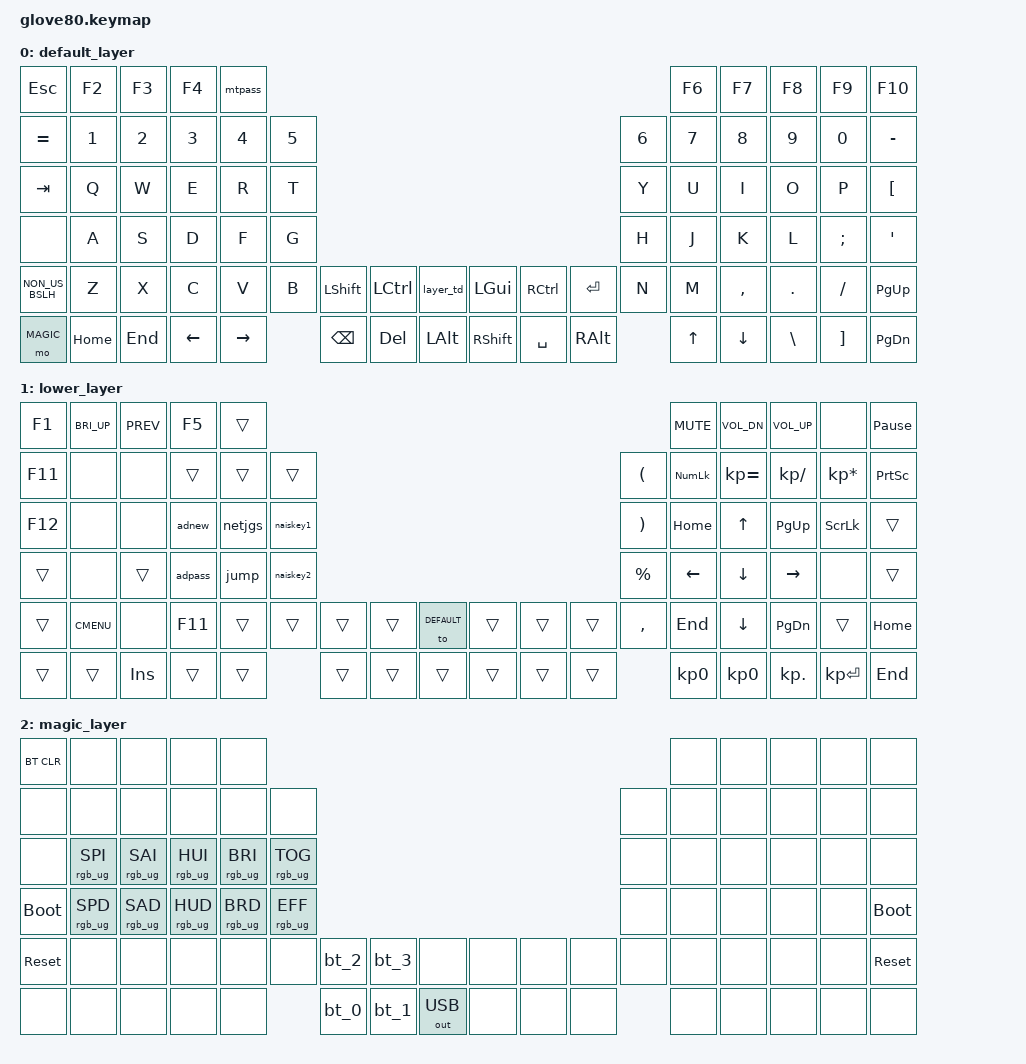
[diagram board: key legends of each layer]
/*
 * Copyright (c) 2020 The ZMK Contributors
 *
 * SPDX-License-Identifier: MIT
 */

#include <behaviors.dtsi>
#include <dt-bindings/zmk/keys.h>
#include <dt-bindings/zmk/bt.h>
#include <dt-bindings/zmk/ext_power.h>
#include <dt-bindings/zmk/outputs.h>
#include <dt-bindings/zmk/rgb.h>

#define HYPER LC(LS(LG(LALT)))

// layers
#define DEFAULT 0
#define LOWER 1
#define MAGIC 2

/ {
    behaviors {
        // For the "layer" key, it'd nice to be able to use it as either a shift or a toggle.
        // Configure it as a tap dance, so the first tap (or hold) is a &mo and the second tap is a &to
        layer_td: tap_dance_0 {
            compatible = "zmk,behavior-tap-dance";
            #binding-cells = <0>;
            tapping-term-ms = <200>;
            bindings = <&mo LOWER>, <&to LOWER>;
        };

    };

    macros {
        bt_0: bt_profile_macro_0 {
            compatible = "zmk,behavior-macro";
            #binding-cells = <0>;
            bindings
                = <&out OUT_BLE>,
                  <&bt BT_SEL 0>;
        };

        bt_1: bt_profile_macro_1 {
            compatible = "zmk,behavior-macro";
            #binding-cells = <0>;
            bindings
                = <&out OUT_BLE>,
                  <&bt BT_SEL 1>;
        };

        bt_2: bt_profile_macro_2 {
            compatible = "zmk,behavior-macro";
            #binding-cells = <0>;
            bindings
                = <&out OUT_BLE>,
                  <&bt BT_SEL 2>;
        };

        bt_3: bt_profile_macro_3 {
            compatible = "zmk,behavior-macro";
            #binding-cells = <0>;
            bindings
                = <&out OUT_BLE>,
                  <&bt BT_SEL 3>;
        };
        adpass: adpass {
            label = "&ADPASS";
            compatible = "zmk,behavior-macro";
            #binding-cells = <0>;
            tap-ms = <45>;
            wait-ms = <13>;
            bindings =
                <&kp B>
                , <&kp A>
                , <&kp LS(R)>
                , <&kp HASH>
                , <&kp HASH>
                , <&kp B>
                , <&kp N3>
                , <&kp N2>
                , <&kp E>
                , <&kp F>
                , <&kp N2>
                , <&kp N0>
                , <&kp LS(R)>
                , <&kp B>
                , <&kp N3>
                , <&kp N2>
                , <&kp E>
                , <&kp F>
                , <&kp N1>
                , <&kp N1>
                , <&kp HASH>
                , <&kp HASH>
                , <&kp N1>
                , <&kp RET>;
        };
        adnew: adnew {
            label = "&ADNEW";
            compatible = "zmk,behavior-macro";
            #binding-cells = <0>;
            tap-ms = <45>;
            wait-ms = <13>;
            bindings =
                <&kp C>
                , <&kp A>
                , <&kp LS(R)>
                , <&kp HASH>
                , <&kp HASH>
                , <&kp B>
                , <&kp N3>
                , <&kp N2>
                , <&kp E>
                , <&kp F>
                , <&kp N1>
                , <&kp N0>
                , <&kp LS(R)>
                , <&kp B>
                , <&kp N3>
                , <&kp N2>
                , <&kp E>
                , <&kp F>
                , <&kp N1>
                , <&kp N1>
                , <&kp HASH>
                , <&kp HASH>
                , <&kp N1>
                , <&kp RET>;
        };
        mtpass: mtpass {
            label = "&MTPASS";
            compatible = "zmk,behavior-macro";
            #binding-cells = <0>;
            tap-ms = <45>;
            wait-ms = <13>;
            bindings
                = <&macro_press>
                , <&kp LSHFT>
                , <&kp M>
                , <&macro_release>
                , <&kp LSHFT>
                , <&macro_tap>
                , <&kp T>
                , <&kp N7>
                , <&kp N3>
                , <&kp K>
                , <&kp B>
                , <&kp N9>
                , <&kp N9>
                , <&macro_tap>
                , <&kp RET>;
        };
        jump: jump {
                compatible = "zmk,behavior-macro";
                #binding-cells = <0>;
                tap-ms = <45>;
                wait-ms = <10>;
                bindings
                    = <&macro_tap>
                    , <&kp J>
                    , <&kp U>
                    , <&kp M>
                    , <&kp P>
                    , <&kp RET>;
        };
        netjgs: netjgs {
                compatible = "zmk,behavior-macro";
                #binding-cells = <0>;
                tap-ms = <45>;
                wait-ms = <10>;
                bindings
                    = <&macro_tap>
                    , <&kp N>
                    , <&kp E>
                    , <&kp T>
                    , <&kp J>
                    , <&kp G>
                    , <&kp S>
                    , <&kp RET>;
        };
        naiskey1: naiskey1 {
                compatible = "zmk,behavior-macro";
                #binding-cells = <0>;
                tap-ms = <45>;
                wait-ms = <10>;
                bindings =
                    <&kp A>
                    , <&kp C>
                    , <&kp N8>
                    , <&kp N5>
                    , <&kp N0>
                    , <&kp B>
                    , <&kp N1>
                    , <&kp E>
                    , <&kp FSLH>
                    , <&kp D>
                    , <&kp N9>
                    , <&kp N7>
                    , <&kp N3>
                    , <&kp FSLH>
                    , <&kp N4>
                    , <&kp N0>
                    , <&kp C>
                    , <&kp D>
                    , <&kp FSLH>
                    ;
        };
        naiskey2: naiskey2 {
                compatible = "zmk,behavior-macro";
                #binding-cells = <0>;
                tap-ms = <45>;
                wait-ms = <10>;
                bindings= 
                    <&kp A>
                    , <&kp C>
                    , <&kp A>
                    , <&kp N4>
                    , <&kp FSLH>
                    , <&kp F>
                    , <&kp N6>
                    , <&kp A>
                    , <&kp N3>
                    , <&kp N3>
                    , <&kp N3>
                    , <&kp N8>
                    , <&kp N3>
                    , <&kp A>
                    , <&kp E>
                    , <&kp N5>
                    , <&kp N5>
                    ;
        };

    };

    keymap {
        compatible = "zmk,keymap";

        default_layer {
            // ---------------------------------------------------------------------------------------------------------------------------------
            // |  F1   |  F2 |  F3 |  F4  |  F5  |                                                               |  F6   |  F7   |  F8  |   F9  |  F10 |
            // |  =    |  1  |  2  |  3   |  4   |  5   |                                                 |  6   |   7   |   8   |  9   |   0   |   -  |
            // |  TAB  |  Q  |  W  |  E   |  R   |  T   |                                                 |  Y   |   U   |   I   |  O   |   P   |   \  |
            // |  ESC  |  A  |  S  |  D   |  F   |  G   |                                                 |  H   |   J   |   K   |  L   |   ;   |   '  |
            // |   `   |  Z  |  X  |  C   |  V   |  B   | LSHFT | LCTRL | LOWER | | LGUI  | RCTRL | RSHFT |  N   |   M   |   ,   |  .   |   /   | PGUP |
            // | MAGIC | HOME| END | LEFT | RIGHT|      | BSPC  | DEL   | LALT  | | RALT  | RET   | SPACE |      |  UP   | DOWN  |  [   |   ]   | PGDN |

            bindings = <
            &kp ESC           &kp F2   &kp F3      &kp F4      &mtpass                                                                                        &kp F6    &kp F7       &kp F8      &kp F9      &kp F10
            &kp EQUAL         &kp N1   &kp N2      &kp N3      &kp N4      &kp N5                                                                     &kp N6  &kp N7    &kp N8       &kp N9      &kp N0      &kp MINUS
            &kp TAB           &kp Q    &kp W       &kp E       &kp R       &kp T                                                                      &kp Y   &kp U     &kp I        &kp O       &kp P       &kp LBKT
            &none             &kp A    &kp S       &kp D       &kp F       &kp G                                                                      &kp H   &kp J     &kp K        &kp L       &kp SEMI    &kp SQT
            &kp NON_US_BSLH   &kp Z    &kp X       &kp C       &kp V       &kp B   &kp LSHFT   &kp LCTRL   &layer_td  &kp LGUI  &kp RCTRL &kp RET     &kp N   &kp M     &kp COMMA    &kp DOT     &kp FSLH    &kp PG_UP
            &mo MAGIC         &kp HOME &kp END     &kp LEFT    &kp RIGHT           &kp BSPC    &kp DEL     &kp LALT   &kp RSHFT &kp SPACE &kp RALT            &kp UP    &kp DOWN     &kp BSLH    &kp RBKT    &kp PG_DN
            >;
        };

        lower_layer {
            bindings = <
            &kp F1            &kp C_BRI_UP        &kp C_PREV      &kp F5          &trans                                                                                                         &kp C_MUTE   &kp C_VOL_DN &kp C_VOL_UP  &none           &kp PAUSE_BREAK
            &kp F11           &none               &none           &trans          &trans         &trans                                                                             &kp LPAR     &kp KP_NUM   &kp KP_EQUAL &kp KP_DIVIDE &kp KP_MULTIPLY &kp PSCRN
            &kp F12           &none               &none           &adnew          &netjgs        &naiskey1                                                                          &kp RPAR     &kp HOME     &kp UP       &kp PG_UP     &kp SLCK        &trans
            &trans            &none               &trans          &adpass         &jump          &naiskey2                                                                          &kp PRCNT    &kp LEFT     &kp DOWN     &kp RIGHT     &none           &trans
            &trans            &kp K_CMENU         &none           &kp F11         &trans         &trans       &trans      &trans      &to DEFAULT &trans      &trans      &trans    &kp COMMA    &kp END      &kp DOWN     &kp PG_DN     &trans          &kp HOME
            &trans            &trans              &kp INS         &trans          &trans                      &trans      &trans      &trans      &trans      &trans      &trans                 &kp KP_N0    &kp KP_N0    &kp KP_DOT    &kp KP_ENTER    &kp END
            >;
        };

         magic_layer {
            bindings = <
            &bt BT_CLR        &none               &none           &none           &none                                                                                                           &none      &none      &none      &none      &none
            &none             &none               &none           &none           &none           &none                                                                                &none      &none      &none      &none      &none      &none
            &none             &rgb_ug RGB_SPI     &rgb_ug RGB_SAI &rgb_ug RGB_HUI &rgb_ug RGB_BRI &rgb_ug RGB_TOG                                                                      &none      &none      &none      &none      &none      &none
            &bootloader       &rgb_ug RGB_SPD     &rgb_ug RGB_SAD &rgb_ug RGB_HUD &rgb_ug RGB_BRD &rgb_ug RGB_EFF                                                                      &none      &none      &none      &none      &none      &bootloader
            &sys_reset        &none               &none           &none           &none           &none           &bt_2     &bt_3     &none            &none     &none     &none       &none      &none      &none      &none      &none      &sys_reset
            &none             &none               &none           &none           &none                           &bt_0     &bt_1     &out OUT_USB     &none     &none     &none                  &none      &none      &none      &none      &none
            >;
        };

    };
};
